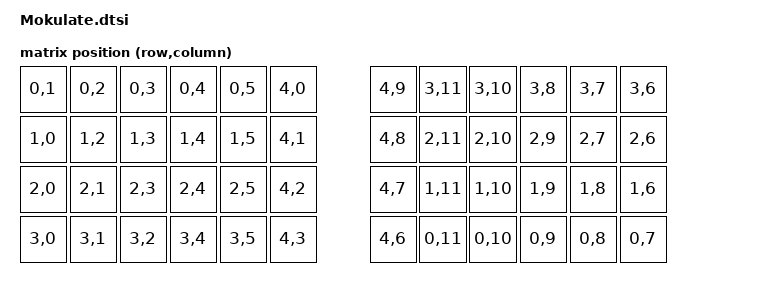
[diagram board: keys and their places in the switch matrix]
#include <dt-bindings/zmk/matrix_transform.h>
#include <physical_layouts.dtsi>

/ {
    chosen {
        zmk,physical-layout = &physical_layout0;
    };

    physical_layout0: physical_layout_0 {
        compatible = "zmk,physical-layout";
        display-name = "Default Layout";
        kscan = <&kscan0>;
        transform = <&default_transform>;

        keys  //                     w   h    x    y     rot    rx    ry
            = <&key_physical_attrs 100 100    0    0       0     0     0>
            , <&key_physical_attrs 100 100  100    0       0     0     0>
            , <&key_physical_attrs 100 100  200    0       0     0     0>
            , <&key_physical_attrs 100 100  300    0       0     0     0>
            , <&key_physical_attrs 100 100  400    0       0     0     0>
            , <&key_physical_attrs 100 100  500    0       0     0     0>
            , <&key_physical_attrs 100 100  700    0       0     0     0>
            , <&key_physical_attrs 100 100  800    0       0     0     0>
            , <&key_physical_attrs 100 100  900    0       0     0     0>
            , <&key_physical_attrs 100 100 1000    0       0     0     0>
            , <&key_physical_attrs 100 100 1100    0       0     0     0>
            , <&key_physical_attrs 100 100 1200    0       0     0     0>
            , <&key_physical_attrs 100 100    0  100       0     0     0>
            , <&key_physical_attrs 100 100  100  100       0     0     0>
            , <&key_physical_attrs 100 100  200  100       0     0     0>
            , <&key_physical_attrs 100 100  300  100       0     0     0>
            , <&key_physical_attrs 100 100  400  100       0     0     0>
            , <&key_physical_attrs 100 100  500  100       0     0     0>
            , <&key_physical_attrs 100 100  700  100       0     0     0>
            , <&key_physical_attrs 100 100  800  100       0     0     0>
            , <&key_physical_attrs 100 100  900  100       0     0     0>
            , <&key_physical_attrs 100 100 1000  100       0     0     0>
            , <&key_physical_attrs 100 100 1100  100       0     0     0>
            , <&key_physical_attrs 100 100 1200  100       0     0     0>
            , <&key_physical_attrs 100 100    0  200       0     0     0>
            , <&key_physical_attrs 100 100  100  200       0     0     0>
            , <&key_physical_attrs 100 100  200  200       0     0     0>
            , <&key_physical_attrs 100 100  300  200       0     0     0>
            , <&key_physical_attrs 100 100  400  200       0     0     0>
            , <&key_physical_attrs 100 100  500  200       0     0     0>
            , <&key_physical_attrs 100 100  700  200       0     0     0>
            , <&key_physical_attrs 100 100  800  200       0     0     0>
            , <&key_physical_attrs 100 100  900  200       0     0     0>
            , <&key_physical_attrs 100 100 1000  200       0     0     0>
            , <&key_physical_attrs 100 100 1100  200       0     0     0>
            , <&key_physical_attrs 100 100 1200  200       0     0     0>
            , <&key_physical_attrs 100 100    0  300       0     0     0>
            , <&key_physical_attrs 100 100  100  300       0     0     0>
            , <&key_physical_attrs 100 100  200  300       0     0     0>
            , <&key_physical_attrs 100 100  300  300       0     0     0>
            , <&key_physical_attrs 100 100  400  300       0     0     0>
            , <&key_physical_attrs 100 100  500  300       0     0     0>
            , <&key_physical_attrs 100 100  700  300       0     0     0>
            , <&key_physical_attrs 100 100  800  300       0     0     0>
            , <&key_physical_attrs 100 100  900  300       0     0     0>
            , <&key_physical_attrs 100 100 1000  300       0     0     0>
            , <&key_physical_attrs 100 100 1100  300       0     0     0>
            , <&key_physical_attrs 100 100 1200  300       0     0     0>
            ;
    };

    // Charlieplex matrix transform (derived from on-device measurement on the right half).
    // gpios index 0..5 = D2..D7. RC(active, passive) = (active_idx, passive_idx).
    // Right half adds col-offset=6 in Mokulate_right.overlay, so passive 0..5 reported by
    // the right kscan becomes 6..11 in this map.
    //
    // Each cell below = the kscan event that fires when the physical key at that keymap
    // position is pressed. Right-half values were obtained by typing each physical key on
    // the assembled right PCB and noting which keymap symbol came out. The left half
    // assumes the PCB is used with point symmetry (rotated 180° between the two halves),
    // so left[r][c] ≡ right[3-r][5-c]. Left half still needs verification once both halves run.
    //
    // RC(5, X) entries are dummies for physical positions that never produced an event
    // (4 spots per half — same physical component is dead on both sides since they share
    // the PCB design). PIN6 = gpios[5] does not drive any matrix row, so kscan never
    // reports (5, X) — these are safe non-firing placeholders.
    default_transform: keymap_transform0 {
        compatible = "zmk,matrix-transform";
        rows = <6>;
        columns = <12>;
        map = <
RC(0,1) RC(0,2) RC(0,3) RC(0,4) RC(0,5) RC(4,0)    RC(4,9) RC(3,11) RC(3,10) RC(3,8) RC(3,7) RC(3,6)
RC(1,0) RC(1,2) RC(1,3) RC(1,4) RC(1,5) RC(4,1)    RC(4,8) RC(2,11) RC(2,10) RC(2,9) RC(2,7) RC(2,6)
RC(2,0) RC(2,1) RC(2,3) RC(2,4) RC(2,5) RC(4,2)    RC(4,7) RC(1,11) RC(1,10) RC(1,9) RC(1,8) RC(1,6)
RC(3,0) RC(3,1) RC(3,2) RC(3,4) RC(3,5) RC(4,3)    RC(4,6) RC(0,11) RC(0,10) RC(0,9) RC(0,8) RC(0,7)
        >;
    };

    // Charlieplex kscan
    //   gpios:           D2..D7 (active/passive pool, 6 pins -> up to 30 keys per side)
    //   interrupt-gpios: D1 (wired to the OR of all charlieplex lines via PCB)
    //   Note: intentionally NO wakeup-source — adding it puts the SoC into deep sleep
    //         which kills the trackball SPI3 (PAW3222 driver disconnects MOTION IRQ on
    //         suspend, so motion cannot wake the SoC).
    kscan0: kscan_charlieplex {
        compatible = "zmk,kscan-gpio-charlieplex";
        gpios
            = <&xiao_d 2 GPIO_ACTIVE_HIGH>
            , <&xiao_d 3 GPIO_ACTIVE_HIGH>
            , <&xiao_d 4 GPIO_ACTIVE_HIGH>
            , <&xiao_d 5 GPIO_ACTIVE_HIGH>
            , <&xiao_d 6 GPIO_ACTIVE_HIGH>
            , <&xiao_d 7 GPIO_ACTIVE_HIGH>
            ;
    };
};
